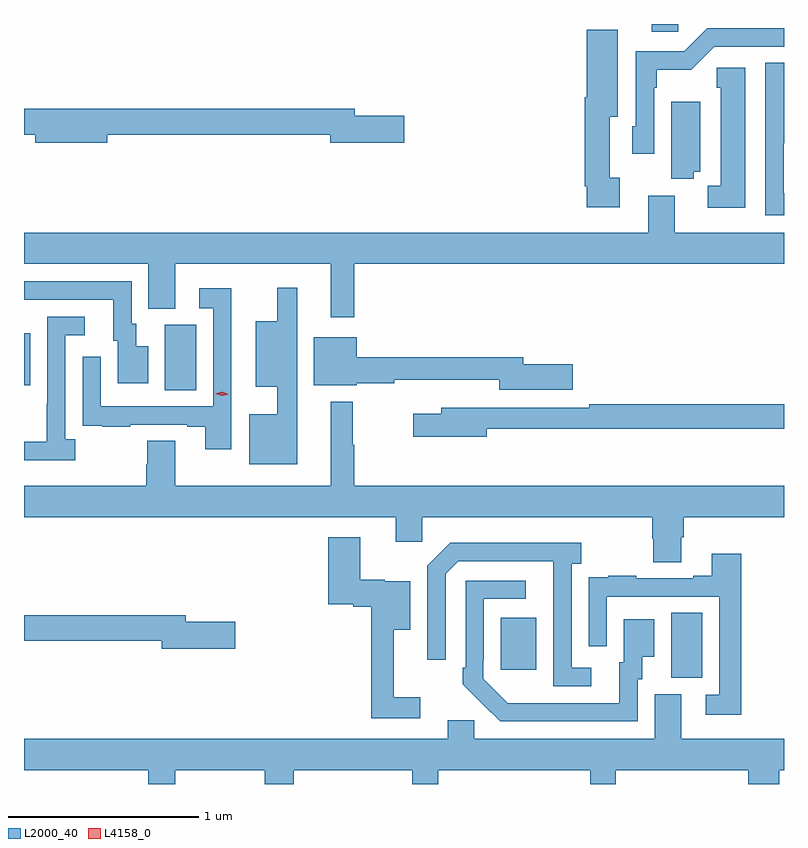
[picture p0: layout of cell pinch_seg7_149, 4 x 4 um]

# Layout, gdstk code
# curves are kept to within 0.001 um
import gdstk
lib = gdstk.Library(unit=1e-6, precision=1e-09)
def R(c, l, rs):  # rectangles x0, y0, x1, y1
    for r in rs: c.add(gdstk.rectangle(r[:2], r[2:], *l))
def P(c, l, *ps):  # polygons
    for p in ps: c.add(gdstk.Polygon(p, *l))
L2000_40 = (2000, 40)
L4158_0 = (4158, 0)

pinch_seg7_149 = lib.new_cell('pinch_seg7_149')
R(pinch_seg7_149, L2000_40, [(1057.136,1035.733,1057.3,1036.076), (1056.239,1035.777,1056.427,1036.051), (1054.472,1037.248,1054.636,1037.592), (1053.73,1037.273,1053.763,1037.548), (1057.034,1039.134,1057.173,1039.175)])
P(pinch_seg7_149, L2000_40, [(1057.047,1038.839),(1057.06,1038.839),(1057.06,1038.935),(1057.241,1038.935),(1057.362,1039.056),(1057.73,1039.056),(1057.73,1039.152),(1057.326,1039.152),(1057.206,1039.032),(1056.951,1039.032),(1056.951,1038.636),(1056.93,1038.636),(1056.93,1038.492),(1057.047,1038.492)],
  [(1056.865,1038.366),(1056.814,1038.366),(1056.814,1038.686),(1056.856,1038.686),(1056.856,1039.144),(1056.692,1039.144),(1056.692,1038.79),(1056.68,1038.79),(1056.68,1038.322),(1056.692,1038.322),(1056.692,1038.21),(1056.865,1038.21)],
  [(1057.73,1038.284),(1057.729,1038.284),(1057.729,1038.547),(1057.73,1038.547),(1057.73,1038.971),(1057.632,1038.971),(1057.632,1038.168),(1057.73,1038.168)],
  [(1057.525,1038.946),(1057.375,1038.946),(1057.375,1038.84),(1057.397,1038.84),(1057.397,1038.324),(1057.329,1038.324),(1057.329,1038.209),(1057.525,1038.209)],
  [(1057.256,1038.398),(1057.288,1038.398),(1057.288,1038.766),(1057.136,1038.766),(1057.136,1038.361),(1057.256,1038.361)],
  [(1054.168,1038.592),(1055.342,1038.592),(1055.342,1038.55),(1055.731,1038.55),(1055.731,1038.692),(1055.47,1038.692),(1055.47,1038.728),(1053.73,1038.728),(1053.73,1038.592),(1053.788,1038.592),(1053.788,1038.55),(1054.168,1038.55)],
  [(1055.467,1037.912),(1057.73,1037.912),(1057.73,1038.076),(1057.156,1038.076),(1057.156,1038.271),(1057.016,1038.271),(1057.016,1038.076),(1053.73,1038.076),(1053.73,1037.912),(1054.385,1037.912),(1054.385,1037.677),(1054.525,1037.677),(1054.525,1037.912),(1055.345,1037.912),(1055.345,1037.631),(1055.467,1037.631)],
  [(1054.384,1037.479),(1054.321,1037.479),(1054.321,1037.598),(1054.296,1037.598),(1054.296,1037.82),(1053.73,1037.82),(1053.73,1037.724),(1054.199,1037.724),(1054.199,1037.508),(1054.223,1037.508),(1054.223,1037.283),(1054.384,1037.283)],
  [(1055.167,1037.788),(1055.063,1037.788),(1055.063,1037.611),(1054.949,1037.611),(1054.949,1037.267),(1055.063,1037.267),(1055.063,1037.122),(1054.916,1037.122),(1054.916,1036.859),(1055.167,1036.859)],
  [(1054.821,1037.785),(1054.653,1037.785),(1054.653,1037.679),(1054.725,1037.679),(1054.725,1037.163),(1054.134,1037.163),(1054.134,1037.425),(1054.038,1037.425),(1054.038,1037.17),(1054.039,1037.17),(1054.039,1037.061),(1054.141,1037.061),(1054.141,1037.055),(1054.289,1037.055),(1054.289,1037.067),(1054.589,1037.067),(1054.589,1037.055),(1054.685,1037.055),(1054.685,1036.938),(1054.821,1036.938)],
  [(1054,1036.99),(1053.948,1036.99),(1053.948,1037.538),(1054.051,1037.538),(1054.051,1037.634),(1053.852,1037.634),(1053.852,1037.177),(1053.851,1037.177),(1053.851,1036.977),(1053.73,1036.977),(1053.73,1036.88),(1054,1036.88)],
  [(1056.619,1037.384),(1056.358,1037.384),(1056.358,1037.42),(1055.482,1037.42),(1055.482,1037.527),(1055.255,1037.527),(1055.255,1037.273),(1055.482,1037.273),(1055.482,1037.284),(1055.678,1037.284),(1055.678,1037.303),(1056.23,1037.303),(1056.23,1037.249),(1056.619,1037.249)],
  [(1057.189,1036.474),(1057.202,1036.474),(1057.202,1036.58),(1057.73,1036.58),(1057.73,1036.744),(1055.467,1036.744),(1055.467,1036.961),(1055.459,1036.961),(1055.459,1037.188),(1055.345,1037.188),(1055.345,1036.744),(1054.525,1036.744),(1054.525,1036.982),(1054.378,1036.982),(1054.378,1036.857),(1054.373,1036.857),(1054.373,1036.744),(1053.73,1036.744),(1053.73,1036.58),(1055.687,1036.58),(1055.687,1036.449),(1055.826,1036.449),(1055.826,1036.58),(1057.037,1036.58),(1057.037,1036.467),(1057.042,1036.467),(1057.042,1036.342),(1057.189,1036.342)],
  [(1056.166,1037.046),(1057.73,1037.046),(1057.73,1037.174),(1056.706,1037.174),(1056.706,1037.154),(1056.162,1037.154),(1056.162,1037.155),(1055.927,1037.155),(1055.927,1037.125),(1055.778,1037.125),(1055.778,1037.003),(1056.166,1037.003)],
  [(1055.815,1035.631),(1055.675,1035.631),(1055.675,1035.986),(1055.764,1035.986),(1055.764,1036.243),(1055.628,1036.243),(1055.628,1036.251),(1055.5,1036.251),(1055.5,1036.474),(1055.33,1036.474),(1055.33,1036.121),(1055.463,1036.121),(1055.463,1036.109),(1055.557,1036.109),(1055.557,1035.522),(1055.815,1035.522)],
  [(1056.715,1035.786),(1056.612,1035.786),(1056.612,1036.334),(1056.664,1036.334),(1056.664,1036.444),(1055.974,1036.444),(1055.853,1036.323),(1055.853,1035.828),(1055.949,1035.828),(1055.949,1036.281),(1056.015,1036.347),(1056.515,1036.347),(1056.516,1035.69),(1056.715,1035.69)],
  [(1057.505,1036.387),(1057.349,1036.387),(1057.349,1036.27),(1057.253,1036.27),(1057.253,1036.257),(1056.953,1036.257),(1056.953,1036.27),(1056.805,1036.27),(1056.805,1036.263),(1056.703,1036.263),(1056.703,1036.154),(1056.702,1036.154),(1056.702,1035.9),(1056.798,1035.9),(1056.798,1036.161),(1057.389,1036.161),(1057.389,1035.645),(1057.317,1035.645),(1057.317,1035.54),(1057.505,1035.54)],
  [(1056.96,1035.726),(1056.985,1035.726),(1056.985,1035.845),(1057.048,1035.845),(1057.048,1036.042),(1056.887,1036.042),(1056.887,1035.816),(1056.863,1035.816),(1056.863,1035.6),(1056.276,1035.601),(1056.147,1035.729),(1056.147,1035.829),(1056.15,1035.829),(1056.15,1036.149),(1056.37,1036.149),(1056.37,1036.245),(1056.054,1036.245),(1056.054,1035.787),(1056.039,1035.787),(1056.039,1035.699),(1056.236,1035.504),(1056.96,1035.504)],
  [(1054.843,1036.028),(1054.582,1036.028),(1054.582,1036.064),(1053.73,1036.064),(1053.73,1035.928),(1054.454,1035.928),(1054.454,1035.886),(1054.843,1035.886)],
  [(1054.525,1035.248),(1054.997,1035.248),(1054.997,1035.175),(1055.15,1035.175),(1055.15,1035.248),(1055.773,1035.248),(1055.773,1035.175),(1055.909,1035.175),(1055.909,1035.248),(1056.709,1035.248),(1056.709,1035.175),(1056.845,1035.175),(1056.845,1035.248),(1057.541,1035.248),(1057.541,1035.175),(1057.706,1035.175),(1057.706,1035.248),(1057.73,1035.248),(1057.73,1035.412),(1057.189,1035.412),(1057.189,1035.648),(1057.049,1035.648),(1057.049,1035.412),(1056.099,1035.412),(1056.099,1035.51),(1055.96,1035.51),(1055.96,1035.412),(1053.73,1035.412),(1053.73,1035.248),(1054.385,1035.248),(1054.385,1035.175),(1054.525,1035.175)])
P(pinch_seg7_149, L4158_0, [(1054.772,1037.219),(1054.736,1037.23),(1054.736,1037.23),(1054.736,1037.23),(1054.772,1037.239),(1054.808,1037.227),(1054.808,1037.227),(1054.808,1037.227)])

lib.write_gds('pinch_seg7_149.gds')
